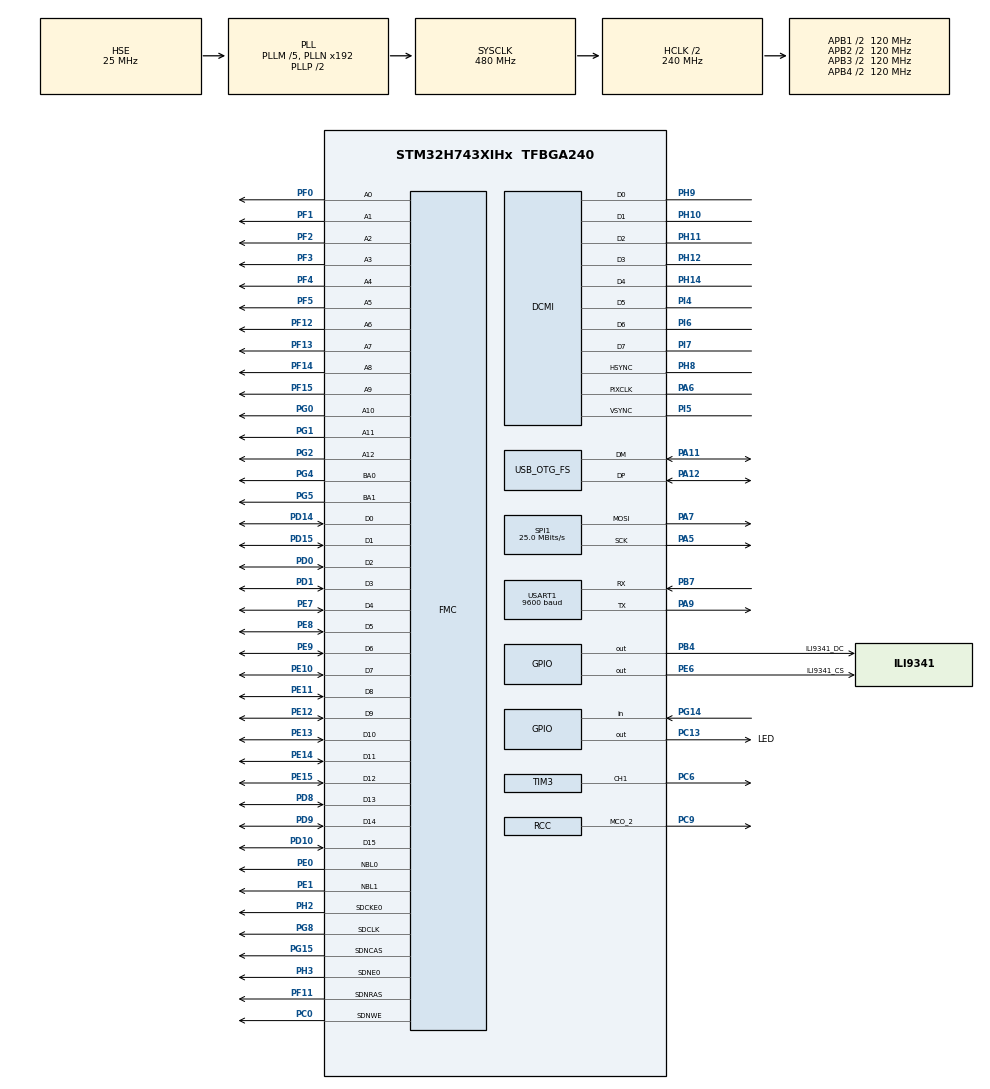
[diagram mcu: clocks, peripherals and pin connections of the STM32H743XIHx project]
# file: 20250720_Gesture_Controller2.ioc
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CORTEX_M7.AccessPermission_S-Cortex_Memory_Protection_Unit_Region4_Settings_S=MPU_REGION_FULL_ACCESS
CORTEX_M7.BaseAddress_S-Cortex_Memory_Protection_Unit_Region4_Settings_S=0xC0000000
CORTEX_M7.DisableExec_S-Cortex_Memory_Protection_Unit_Region4_Settings_S=MPU_INSTRUCTION_ACCESS_DISABLE
CORTEX_M7.Enable_S-Cortex_Memory_Protection_Unit_Region4_Settings_S=MPU_REGION_ENABLE
CORTEX_M7.IsShareable_S-Cortex_Memory_Protection_Unit_Region4_Settings_S=MPU_ACCESS_SHAREABLE
CORTEX_M7.Size_S-Cortex_Memory_Protection_Unit_Region4_Settings_S=MPU_REGION_SIZE_32MB
CORTEX_M7.SubRegionDisable_S-Cortex_Memory_Protection_Unit_Region4_Settings_S=0x0
CORTEX_M7.TypeExtField_S-Cortex_Memory_Protection_Unit_Region4_Settings_S=MPU_TEX_LEVEL1
CORTEX_M7.default_mode_Activation=1
DCMI.PCKPolarity=DCMI_PCKPOLARITY_RISING
DCMI.VSPolarity=DCMI_VSPOLARITY_HIGH
Dma.DCMI.1.Direction=DMA_PERIPH_TO_MEMORY
Dma.DCMI.1.EventEnable=DISABLE
Dma.DCMI.1.FIFOMode=DMA_FIFOMODE_DISABLE
Dma.DCMI.1.Instance=DMA1_Stream1
Dma.DCMI.1.MemDataAlignment=DMA_MDATAALIGN_WORD
Dma.DCMI.1.MemInc=DMA_MINC_ENABLE
Dma.DCMI.1.Mode=DMA_NORMAL
Dma.DCMI.1.PeriphDataAlignment=DMA_PDATAALIGN_WORD
Dma.DCMI.1.PeriphInc=DMA_PINC_DISABLE
Dma.DCMI.1.Polarity=HAL_DMAMUX_REQ_GEN_RISING
Dma.DCMI.1.Priority=DMA_PRIORITY_LOW
Dma.DCMI.1.RequestNumber=1
Dma.DCMI.1.SignalID=NONE
Dma.DCMI.1.SyncEnable=DISABLE
Dma.DCMI.1.SyncPolarity=HAL_DMAMUX_SYNC_NO_EVENT
Dma.DCMI.1.SyncRequestNumber=1
Dma.DCMI.1.SyncSignalID=NONE
Dma.Request0=SPI1_TX
Dma.Request1=DCMI
Dma.SPI1_TX.0.Direction=DMA_MEMORY_TO_PERIPH
Dma.SPI1_TX.0.EventEnable=DISABLE
Dma.SPI1_TX.0.FIFOMode=DMA_FIFOMODE_DISABLE
Dma.SPI1_TX.0.Instance=DMA1_Stream0
Dma.SPI1_TX.0.MemDataAlignment=DMA_MDATAALIGN_BYTE
Dma.SPI1_TX.0.MemInc=DMA_MINC_ENABLE
Dma.SPI1_TX.0.Mode=DMA_NORMAL
Dma.SPI1_TX.0.PeriphDataAlignment=DMA_PDATAALIGN_BYTE
Dma.SPI1_TX.0.PeriphInc=DMA_PINC_DISABLE
Dma.SPI1_TX.0.Polarity=HAL_DMAMUX_REQ_GEN_RISING
Dma.SPI1_TX.0.Priority=DMA_PRIORITY_LOW
Dma.SPI1_TX.0.RequestNumber=1
Dma.SPI1_TX.0.SignalID=NONE
Dma.SPI1_TX.0.SyncEnable=DISABLE
Dma.SPI1_TX.0.SyncPolarity=HAL_DMAMUX_SYNC_NO_EVENT
Dma.SPI1_TX.0.SyncRequestNumber=1
Dma.SPI1_TX.0.SyncSignalID=NONE
FMC.CASLatency1=FMC_SDRAM_CAS_LATENCY_2
FMC.ColumnBitsNumber1=FMC_SDRAM_COLUMN_BITS_NUM_9
FMC.ExitSelfRefreshDelay1=9
FMC.LoadToActiveDelay1=2
FMC.RCDDelay1=3
FMC.RPDelay1=3
FMC.ReadBurst1=FMC_SDRAM_RBURST_ENABLE
FMC.RowCycleDelay1=8
FMC.SDClockPeriod1=FMC_SDRAM_CLOCK_PERIOD_2
FMC.SelfRefreshTime1=6
FMC.WriteRecoveryTime1=3
FREERTOS.Tasks01=defaultTask,0,128,StartDefaultTask,Default,NULL,Dynamic,NULL,NULL;myListenerTask,0,128,ListenerTask,Default,NULL,Dynamic,NULL,NULL;myControllerTas,0,128,ControllerTask,Default,NULL,Dynamic,NULL,NULL;myPresenterTask,0,128,PresenterTask,Default,NULL,Dynamic,NULL,NULL
FREERTOS.configUSE_NEWLIB_REENTRANT=1
Mcu.Family=STM32H7
Mcu.Name=STM32H743XIHx
Mcu.Package=TFBGA240
NVIC.DCMI_IRQn=true\:5\:0\:false\:false\:true\:true\:true\:true\:true
NVIC.DMA1_Stream0_IRQn=true\:5\:0\:false\:false\:true\:true\:false\:true\:true
NVIC.DMA1_Stream1_IRQn=true\:5\:0\:false\:false\:true\:true\:false\:true\:true
NVIC.OTG_FS_IRQn=true\:5\:0\:true\:false\:true\:true\:false\:true\:true
NVIC.PriorityGroup=NVIC_PRIORITYGROUP_4
NVIC.SPI1_IRQn=true\:5\:0\:false\:false\:true\:true\:false\:true\:true
NVIC.TIM17_IRQn=true\:15\:0\:false\:false\:true\:false\:false\:true\:true
NVIC.TIM2_IRQn=true\:5\:0\:false\:false\:true\:true\:true\:true\:true
NVIC.TIM3_IRQn=true\:5\:0\:false\:false\:true\:true\:true\:true\:true
NVIC.TimeBase=TIM17_IRQn
NVIC.TimeBaseIP=TIM17
NVIC.USART1_IRQn=true\:5\:0\:true\:false\:true\:true\:true\:true\:true
PA11.Mode=Device_Only
PA11.Signal=USB_OTG_FS_DM
PA12.Mode=Device_Only
PA12.Signal=USB_OTG_FS_DP
PA13\ (JTMS/SWDIO).Mode=Serial_Wire
PA13\ (JTMS/SWDIO).Signal=DEBUG_JTMS-SWDIO
PA14\ (JTCK/SWCLK).Mode=Serial_Wire
PA14\ (JTCK/SWCLK).Signal=DEBUG_JTCK-SWCLK
PA5.Mode=TX_Only_Simplex_Unidirect_Master
PA5.Signal=SPI1_SCK
PA6.Mode=Slave_8_bits_External_Synchro
PA6.Signal=DCMI_PIXCLK
PA7.Mode=TX_Only_Simplex_Unidirect_Master
PA7.Signal=SPI1_MOSI
PA9.Mode=Asynchronous
PA9.Signal=USART1_TX
PB4\ (NJTRST).GPIO_Label=ILI9341_DC
PB4\ (NJTRST).Signal=GPIO_Output
PB7.Mode=Asynchronous
PB7.Signal=USART1_RX
PC0.Signal=FMC_SDNWE
PC13.GPIO_Label=LED
PC13.Signal=GPIO_Output
PC6.Signal=S_TIM3_CH1
PC9.Mode=Clock-out-2
PC9.Signal=RCC_MCO_2
PD0.Signal=FMC_D2_DA2
PD1.Signal=FMC_D3_DA3
PD10.Signal=FMC_D15_DA15
PD14.Signal=FMC_D0_DA0
PD15.Signal=FMC_D1_DA1
PD8.Signal=FMC_D13_DA13
PD9.Signal=FMC_D14_DA14
PE0.Signal=FMC_NBL0
PE1.Signal=FMC_NBL1
PE10.Signal=FMC_D7_DA7
PE11.Signal=FMC_D8_DA8
PE12.Signal=FMC_D9_DA9
PE13.Signal=FMC_D10_DA10
PE14.Signal=FMC_D11_DA11
PE15.Signal=FMC_D12_DA12
PE6.GPIO_Label=ILI9341_CS
PE6.Signal=GPIO_Output
PE7.Signal=FMC_D4_DA4
PE8.Signal=FMC_D5_DA5
PE9.Signal=FMC_D6_DA6
PF0.Signal=FMC_A0
PF1.Signal=FMC_A1
PF11.Signal=FMC_SDNRAS
PF12.Signal=FMC_A6
PF13.Signal=FMC_A7
PF14.Signal=FMC_A8
PF15.Signal=FMC_A9
PF2.Signal=FMC_A2
PF3.Signal=FMC_A3
PF4.Signal=FMC_A4
PF5.Signal=FMC_A5
PG0.Signal=FMC_A10
PG1.Signal=FMC_A11
PG14.Signal=GPIO_Input
PG15.Signal=FMC_SDNCAS
PG2.Signal=FMC_A12
PG4.Signal=FMC_A14_BA0
PG5.Signal=FMC_A15_BA1
PG8.Signal=FMC_SDCLK
PH0-OSC_IN\ (PH0).Mode=HSE-External-Oscillator
PH0-OSC_IN\ (PH0).Signal=RCC_OSC_IN
PH1-OSC_OUT\ (PH1).Mode=HSE-External-Oscillator
PH1-OSC_OUT\ (PH1).Signal=RCC_OSC_OUT
PH10.Mode=Slave_8_bits_External_Synchro
PH10.Signal=DCMI_D1
PH11.Mode=Slave_8_bits_External_Synchro
PH11.Signal=DCMI_D2
PH12.Mode=Slave_8_bits_External_Synchro
PH12.Signal=DCMI_D3
PH14.Mode=Slave_8_bits_External_Synchro
PH14.Signal=DCMI_D4
PH2.Mode=SdramChipSelect1_1
PH2.Signal=FMC_SDCKE0
PH3.Mode=SdramChipSelect1_1
PH3.Signal=FMC_SDNE0
PH8.Mode=Slave_8_bits_External_Synchro
PH8.Signal=DCMI_HSYNC
PH9.Mode=Slave_8_bits_External_Synchro
PH9.Signal=DCMI_D0
PI4.Mode=Slave_8_bits_External_Synchro
PI4.Signal=DCMI_D5
PI5.Mode=Slave_8_bits_External_Synchro
PI5.Signal=DCMI_VSYNC
PI6.Mode=Slave_8_bits_External_Synchro
PI6.Signal=DCMI_D6
PI7.Mode=Slave_8_bits_External_Synchro
PI7.Signal=DCMI_D7
ProjectManager.HeapSize=0x200
ProjectManager.StackSize=0x400
ProjectManager.TargetToolchain=STM32CubeIDE
RCC.ADCFreq_Value=96000000
RCC.APB1Freq_Value=120000000
RCC.APB2Freq_Value=120000000
RCC.APB3Freq_Value=120000000
RCC.APB4Freq_Value=120000000
RCC.CortexFreq_Value=480000000
RCC.D1PPRE=RCC_APB3_DIV2
RCC.D2PPRE1=RCC_APB1_DIV2
RCC.D2PPRE2=RCC_APB2_DIV2
RCC.D3PPRE=RCC_APB4_DIV2
RCC.DIVM1=5
RCC.DIVM2=25
RCC.DIVM3=25
RCC.DIVN1=192
RCC.DIVN2=192
RCC.DIVN3=200
RCC.HCLKFreq_Value=240000000
RCC.HPRE=RCC_HCLK_DIV2
RCC.HSE_VALUE=25000000
RCC.PLLFRACN=0
RCC.PLLSourceVirtual=RCC_PLLSOURCE_HSE
RCC.RCC_MCO2Source=RCC_MCO2SOURCE_PLL2PCLK
RCC.RCC_MCODiv2=RCC_MCODIV_4
RCC.SPI123CLockSelection=RCC_SPI123CLKSOURCE_PLL3
RCC.SYSCLKFreq_VALUE=480000000
RCC.SYSCLKSource=RCC_SYSCLKSOURCE_PLLCLK
RCC.USBCLockSelection=RCC_USBCLKSOURCE_HSI48
RCC.USBFreq_Value=48000000
SH.FMC_A0.0=FMC_A0,13b-sda1
SH.FMC_A1.0=FMC_A1,13b-sda1
SH.FMC_A10.0=FMC_A10,13b-sda1
SH.FMC_A11.0=FMC_A11,13b-sda1
SH.FMC_A12.0=FMC_A12,13b-sda1
SH.FMC_A14_BA0.0=FMC_BA0,FourSdramBanks1
SH.FMC_A15_BA1.0=FMC_BA1,FourSdramBanks1
SH.FMC_A2.0=FMC_A2,13b-sda1
SH.FMC_A3.0=FMC_A3,13b-sda1
SH.FMC_A4.0=FMC_A4,13b-sda1
SH.FMC_A5.0=FMC_A5,13b-sda1
SH.FMC_A6.0=FMC_A6,13b-sda1
SH.FMC_A7.0=FMC_A7,13b-sda1
SH.FMC_A8.0=FMC_A8,13b-sda1
SH.FMC_A9.0=FMC_A9,13b-sda1
SH.FMC_D0_DA0.0=FMC_D0,sd-16b-d1
SH.FMC_D10_DA10.0=FMC_D10,sd-16b-d1
SH.FMC_D11_DA11.0=FMC_D11,sd-16b-d1
SH.FMC_D12_DA12.0=FMC_D12,sd-16b-d1
SH.FMC_D13_DA13.0=FMC_D13,sd-16b-d1
SH.FMC_D14_DA14.0=FMC_D14,sd-16b-d1
SH.FMC_D15_DA15.0=FMC_D15,sd-16b-d1
SH.FMC_D1_DA1.0=FMC_D1,sd-16b-d1
SH.FMC_D2_DA2.0=FMC_D2,sd-16b-d1
SH.FMC_D3_DA3.0=FMC_D3,sd-16b-d1
SH.FMC_D4_DA4.0=FMC_D4,sd-16b-d1
SH.FMC_D5_DA5.0=FMC_D5,sd-16b-d1
SH.FMC_D6_DA6.0=FMC_D6,sd-16b-d1
SH.FMC_D7_DA7.0=FMC_D7,sd-16b-d1
SH.FMC_D8_DA8.0=FMC_D8,sd-16b-d1
SH.FMC_D9_DA9.0=FMC_D9,sd-16b-d1
SH.FMC_NBL0.0=FMC_NBL0,Sd2ByteEnable1
SH.FMC_NBL1.0=FMC_NBL1,Sd2ByteEnable1
SH.FMC_SDCLK.0=FMC_SDCLK,13b-sda1
SH.FMC_SDNCAS.0=FMC_SDNCAS,13b-sda1
SH.FMC_SDNRAS.0=FMC_SDNRAS,13b-sda1
SH.FMC_SDNWE.0=FMC_SDNWE,13b-sda1
SH.S_TIM3_CH1.0=TIM3_CH1,PWM Generation1 CH1
SPI1.BaudRatePrescaler=SPI_BAUDRATEPRESCALER_4
SPI1.CalculateBaudRate=25.0 MBits/s
SPI1.DataSize=SPI_DATASIZE_8BIT
SPI1.Direction=SPI_DIRECTION_2LINES_TXONLY
SPI1.Mode=SPI_MODE_MASTER
SPI1.NSSPMode=SPI_NSS_PULSE_DISABLE
SPI1.VirtualType=VM_MASTER
TIM2.AutoReloadPreload=TIM_AUTORELOAD_PRELOAD_ENABLE
TIM2.Period=10-1
TIM2.Prescaler=48-1
TIM3.AutoReloadPreload=TIM_AUTORELOAD_PRELOAD_ENABLE
TIM3.Channel-PWM\ Generation1\ CH1=TIM_CHANNEL_1
TIM3.Period=20000-1
TIM3.Prescaler=240-1
USART1.BaudRate=9600
USART1.VirtualMode-Asynchronous=VM_ASYNC
USB_DEVICE.CLASS_NAME_FS=HID
USB_DEVICE.VirtualMode-HID_FS=Hid
USB_DEVICE.VirtualModeFS=Hid_FS
USB_OTG_FS.VirtualMode=Device_Only
VP_FREERTOS_VS_CMSIS_V1.Mode=CMSIS_V1
VP_MEMORYMAP_VS_MEMORYMAP.Mode=CurAppReg
VP_SYS_VS_tim17.Mode=TIM17
VP_TIM2_VS_ClockSourceINT.Mode=Internal
VP_TIM3_VS_ClockSourceINT.Mode=Internal
VP_USB_DEVICE_VS_USB_DEVICE_HID_FS.Mode=HID_FS
board=custom

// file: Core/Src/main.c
/* USER CODE BEGIN Header */
/**
 ******************************************************************************
 * @file           : main.c
 * @brief          : Main program body
 ******************************************************************************
 * @attention
 *
 * Copyright (c) 2025 STMicroelectronics.
 * All rights reserved.
 *
 * This software is licensed under terms that can be found in the LICENSE file
 * in the root directory of this software component.
 * If no LICENSE file comes with this software, it is provided AS-IS.
 *
 ******************************************************************************
 */
/* USER CODE END Header */
#include "main.h"
#include "cmsis_os.h"
#include "dcmi.h"
#include "dma.h"
#include "memorymap.h"
#include "spi.h"
#include "tim.h"
#include "usart.h"
#include "usb_device.h"
#include "gpio.h"
#include "fmc.h"

/* USER CODE BEGIN Includes */
#include <stdio.h>
#include <string.h>
#include "Model_Mode.h"
#include "Model_KeyBoard.h"
#include "Presenter_KeyBoard.h"
#include "Presenter.h"
/* USER CODE END Includes */

/* USER CODE BEGIN PTD */
extern const unsigned char black_cat[];
/* USER CODE END PTD */

/* USER CODE BEGIN PV */
uint16_t *camBuf[320*240];   // static ram에 잡힘

uint8_t rx_data;
int captureFlag = 0;

volatile uint8_t flag=0;
volatile uint8_t send_ready = 0;
/* USER CODE END PV */

void SystemClock_Config(void);
void PeriphCommonClock_Config(void);
static void MPU_Config(void);
void MX_FREERTOS_Init(void);

/* USER CODE BEGIN 0 */
int __io_putchar(int ch)
{
	HAL_UART_Transmit(&huart1, (uint8_t *)&ch, 1, 1000);

	return ch;
}

void HAL_SPI_TxCpltCallback(SPI_HandleTypeDef *hspi)
{
	if(hspi->Instance == SPI1) {
		printf("SPI DMA Complete!\n");
	}
}

void HAL_DCMI_FrameEventCallback(DCMI_HandleTypeDef *hdcmi)
{
	captureFlag = 1;
	printf("Complete Oneshot Frame Capture!\n");
}
/* USER CODE END 0 */

int main(void)
{

  /* MPU Configuration--------------------------------------------------------*/
  MPU_Config();

  /* MCU Configuration--------------------------------------------------------*/

  /* Reset of all peripherals, Initializes the Flash interface and the Systick. */
  HAL_Init();

  /* Configure the system clock */
  SystemClock_Config();

  /* Configure the peripherals common clocks */
  PeriphCommonClock_Config();

  /* Initialize all configured peripherals */
  MX_GPIO_Init();
  MX_DMA_Init();
  MX_SPI1_Init();
  MX_FMC_Init();
  MX_DCMI_Init();
  MX_USART1_UART_Init();
  MX_TIM2_Init();
  MX_TIM3_Init();
  /* USER CODE BEGIN 2 */
	MX_USB_DEVICE_Init();

	HAL_DCMI_Start_DMA(&hdcmi, DCMI_MODE_SNAPSHOT, (uint32_t)&camBuf, 320*240/2);

	//   uint8_t *sdramAddr = (uint32_t *)(0xC0000000);
	//
	//   for (int i=0; i<100; i++) {
	//      sdramAddr[i] = i;
	//   }
	//
	//   for (int i=0; i<100; i++) {
	//      printf("sdramAddr[%d] = %d\n", i, sdramAddr[i]);
	//   }
	//
	//   printf("Hello STM32!\n");
	//   //HAL_SPI_Transmit_DMA(&hspi1, black_cat, 100);
	//
	//   for (uint32_t i=0; i<320*240*2; i++) {
	//      sdramAddr[i] = pic_240x320[i];
	//   }

  /* USER CODE END 2 */

  /* Call init function for freertos objects (in cmsis_os2.c) */
  MX_FREERTOS_Init();

  /* Start scheduler */
  osKernelStart();

  /* We should never get here as control is now taken by the scheduler */

  /* Infinite loop */
  /* USER CODE BEGIN WHILE */
	while (1)
	{

		//      ILI9341_FillScreen(ILI9341_RED);
		//      HAL_Delay(500);
		//      ILI9341_FillScreen(ILI9341_GREEN);
		//      HAL_Delay(500);
		//      ILI9341_FillScreen(ILI9341_BLUE);
		//      HAL_Delay(500);

		//      ILI9341_DrawImage(0, 0, 240, 240, (const uint16_t *)test_img_240x240);
		//      HAL_Delay(500);
		//      ILI9341_DrawImage8(0, 0, 240, 320, (const uint8_t *)pic_240x320);
		//      ILI9341_DrawImage8(0, 0, 240, 320, (const uint8_t *)sdramAddr);
		//      HAL_Delay(500);

		//      HAL_Delay(500);
		//            ILI9341_DrawImage8(20, 30, 64, 64,(const uint8_t *)black_cat);
		//      ILI9341_WriteString(10, 200, "Hello, World!", Font_7x10, ILI9341_WHITE, ILI9341_BLACK);
		//      HAL_Delay(3000);

    /* USER CODE END WHILE */

	}
}

void SystemClock_Config(void)
{
  RCC_OscInitTypeDef RCC_OscInitStruct = {0};
  RCC_ClkInitTypeDef RCC_ClkInitStruct = {0};

  /** Supply configuration update enable
  */
  HAL_PWREx_ConfigSupply(PWR_LDO_SUPPLY);

  /** Configure the main internal regulator output voltage
  */
  __HAL_PWR_VOLTAGESCALING_CONFIG(PWR_REGULATOR_VOLTAGE_SCALE0);

  while(!__HAL_PWR_GET_FLAG(PWR_FLAG_VOSRDY)) {}

  /** Initializes the RCC Oscillators according to the specified parameters
  * in the RCC_OscInitTypeDef structure.
  */
  RCC_OscInitStruct.OscillatorType = RCC_OSCILLATORTYPE_HSI48|RCC_OSCILLATORTYPE_HSE;
  RCC_OscInitStruct.HSEState = RCC_HSE_ON;
  RCC_OscInitStruct.HSI48State = RCC_HSI48_ON;
  RCC_OscInitStruct.PLL.PLLState = RCC_PLL_ON;
  RCC_OscInitStruct.PLL.PLLSource = RCC_PLLSOURCE_HSE;
  RCC_OscInitStruct.PLL.PLLM = 5;
  RCC_OscInitStruct.PLL.PLLN = 192;
  RCC_OscInitStruct.PLL.PLLP = 2;
  RCC_OscInitStruct.PLL.PLLQ = 2;
  RCC_OscInitStruct.PLL.PLLR = 2;
  RCC_OscInitStruct.PLL.PLLRGE = RCC_PLL1VCIRANGE_2;
  RCC_OscInitStruct.PLL.PLLVCOSEL = RCC_PLL1VCOWIDE;
  RCC_OscInitStruct.PLL.PLLFRACN = 0;
  if (HAL_RCC_OscConfig(&RCC_OscInitStruct) != HAL_OK)
  {
    Error_Handler();
  }

  /** Initializes the CPU, AHB and APB buses clocks
  */
  RCC_ClkInitStruct.ClockType = RCC_CLOCKTYPE_HCLK|RCC_CLOCKTYPE_SYSCLK
                              |RCC_CLOCKTYPE_PCLK1|RCC_CLOCKTYPE_PCLK2
                              |RCC_CLOCKTYPE_D3PCLK1|RCC_CLOCKTYPE_D1PCLK1;
  RCC_ClkInitStruct.SYSCLKSource = RCC_SYSCLKSOURCE_PLLCLK;
  RCC_ClkInitStruct.SYSCLKDivider = RCC_SYSCLK_DIV1;
  RCC_ClkInitStruct.AHBCLKDivider = RCC_HCLK_DIV2;
  RCC_ClkInitStruct.APB3CLKDivider = RCC_APB3_DIV2;
  RCC_ClkInitStruct.APB1CLKDivider = RCC_APB1_DIV2;
  RCC_ClkInitStruct.APB2CLKDivider = RCC_APB2_DIV2;
  RCC_ClkInitStruct.APB4CLKDivider = RCC_APB4_DIV2;

  if (HAL_RCC_ClockConfig(&RCC_ClkInitStruct, FLASH_LATENCY_4) != HAL_OK)
  {
    Error_Handler();
  }
  __HAL_RCC_PLL2CLKOUT_ENABLE(RCC_PLL2_DIVP);
  HAL_RCC_MCOConfig(RCC_MCO2, RCC_MCO2SOURCE_PLL2PCLK, RCC_MCODIV_4);
}

void PeriphCommonClock_Config(void)
{

  /** Enables PLL2P clock output
  */
  __HAL_RCC_PLL2_CONFIG(25, 192, 2, 2, 2);
  __HAL_RCC_PLL2_VCIRANGE(RCC_PLL2VCIRANGE_0);
  __HAL_RCC_PLL2_VCORANGE(RCC_PLL2VCOWIDE);
  __HAL_RCC_PLL2_ENABLE();
}

/* USER CODE BEGIN 4 */
void HAL_UART_RxCpltCallback(UART_HandleTypeDef *huart)
{

		if (huart->Instance == USART1 && (send_ready == 0)) {
			switch (rx_data) {

			// keyboard
			case 'a':
				osMessagePut(modeEventMsgBox, S_KEYBOARD_MODE, 0);
				osMessagePut(keyBoardEventMsgBox, EVENT_LEFT, 0);
				break;
			case 'b':
				osMessagePut(modeEventMsgBox, S_KEYBOARD_MODE, 0);
				osMessagePut(keyBoardEventMsgBox, EVENT_RIGHT, 0);
				break;
			case 'c':
				osMessagePut(modeEventMsgBox, S_KEYBOARD_MODE, 0);
				osMessagePut(keyBoardEventMsgBox, EVENT_UP, 0);
				break;
			case 'd':
				osMessagePut(modeEventMsgBox, S_KEYBOARD_MODE, 0);
				osMessagePut(keyBoardEventMsgBox, EVENT_DOWN, 0);
				break;
			case 'e':
				osMessagePut(modeEventMsgBox, S_KEYBOARD_MODE, 0);
				osMessagePut(keyBoardEventMsgBox, EVENT_ZERO, 0);
				break;
			case 'f':
				osMessagePut(modeEventMsgBox, S_KEYBOARD_MODE, 0);
				osMessagePut(keyBoardEventMsgBox, EVENT_ONE, 0);
				break;
			case 'g':
				osMessagePut(modeEventMsgBox, S_KEYBOARD_MODE, 0);
				osMessagePut(keyBoardEventMsgBox, EVENT_TWO, 0);
				break;
			case 'h':
				osMessagePut(modeEventMsgBox, S_KEYBOARD_MODE, 0);
				osMessagePut(keyBoardEventMsgBox, EVENT_THREE, 0);
				break;
			case 'i':
				osMessagePut(modeEventMsgBox, S_KEYBOARD_MODE, 0);
				osMessagePut(keyBoardEventMsgBox, EVENT_FOUR, 0);
				break;
			case 'j':
				osMessagePut(modeEventMsgBox, S_KEYBOARD_MODE, 0);
				osMessagePut(keyBoardEventMsgBox, EVENT_FIVE, 0);
				break;
			case 'k':
				osMessagePut(modeEventMsgBox, S_KEYBOARD_MODE, 0);
				osMessagePut(keyBoardEventMsgBox, EVENT_SIX, 0);
				break;
			case 'l':
				osMessagePut(modeEventMsgBox, S_KEYBOARD_MODE, 0);
				osMessagePut(keyBoardEventMsgBox, EVENT_SEVEN, 0);
				break;
			case 'm':
				osMessagePut(modeEventMsgBox, S_KEYBOARD_MODE, 0);
				osMessagePut(keyBoardEventMsgBox, EVENT_EIGHT, 0);
				break;
			case 'n':
				osMessagePut(modeEventMsgBox, S_KEYBOARD_MODE, 0);
				osMessagePut(keyBoardEventMsgBox, EVENT_NINE, 0);
				break;

			// motor
			case 'C':
				osMessagePut(modeEventMsgBox, S_MOTOR_MODE, 0);
				osMessagePut(servoMotorEventMsgBox, EVENT_SERVO_RIGHT, 0);
				break;
			case 'D':
				osMessagePut(modeEventMsgBox, S_MOTOR_MODE, 0);
				osMessagePut(servoMotorEventMsgBox, EVENT_SERVO_LEFT, 0);
				break;
			default:break;
			}
			HAL_UART_Receive_IT(&huart1, &rx_data, 1);
		}

}

/* USER CODE END 4 */

 /* MPU Configuration */

void MPU_Config(void)
{
  MPU_Region_InitTypeDef MPU_InitStruct = {0};

  /* Disables the MPU */
  HAL_MPU_Disable();

  /** Initializes and configures the Region and the memory to be protected
  */
  MPU_InitStruct.Enable = MPU_REGION_ENABLE;
  MPU_InitStruct.Number = MPU_REGION_NUMBER0;
  MPU_InitStruct.BaseAddress = 0x0;
  MPU_InitStruct.Size = MPU_REGION_SIZE_4GB;
  MPU_InitStruct.SubRegionDisable = 0x87;
  MPU_InitStruct.TypeExtField = MPU_TEX_LEVEL0;
  MPU_InitStruct.AccessPermission = MPU_REGION_NO_ACCESS;
  MPU_InitStruct.DisableExec = MPU_INSTRUCTION_ACCESS_DISABLE;
  MPU_InitStruct.IsShareable = MPU_ACCESS_SHAREABLE;
  MPU_InitStruct.IsCacheable = MPU_ACCESS_NOT_CACHEABLE;
  MPU_InitStruct.IsBufferable = MPU_ACCESS_NOT_BUFFERABLE;

  HAL_MPU_ConfigRegion(&MPU_InitStruct);

  /** Initializes and configures the Region and the memory to be protected
  */
  MPU_InitStruct.Number = MPU_REGION_NUMBER4;
  MPU_InitStruct.BaseAddress = 0xC0000000;
  MPU_InitStruct.Size = MPU_REGION_SIZE_32MB;
  MPU_InitStruct.SubRegionDisable = 0x0;
  MPU_InitStruct.TypeExtField = MPU_TEX_LEVEL1;
  MPU_InitStruct.AccessPermission = MPU_REGION_FULL_ACCESS;

  HAL_MPU_ConfigRegion(&MPU_InitStruct);
  /* Enables the MPU */
  HAL_MPU_Enable(MPU_PRIVILEGED_DEFAULT);

}

void HAL_TIM_PeriodElapsedCallback(TIM_HandleTypeDef *htim)
{
  /* USER CODE BEGIN Callback 0 */
	static uint16_t us_counter = 0;

	if (htim->Instance == TIM2 && flag == 1) {
		if (++us_counter >= 20000) {  // 1us * 20000 = 20ms
			us_counter = 0;
			flag = 0;
			send_ready=1;
			HAL_TIM_Base_Stop(&htim2);
		}
	}

  /* USER CODE END Callback 0 */
  if (htim->Instance == TIM17)
  {
    HAL_IncTick();
  }
}

void Error_Handler(void)
{
	__disable_irq();
	while (1)
	{
	}
}

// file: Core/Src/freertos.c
/* USER CODE BEGIN Header */
/**
 ******************************************************************************
 * File Name          : freertos.c
 * Description        : Code for freertos applications
 ******************************************************************************
 * @attention
 *
 * Copyright (c) 2025 STMicroelectronics.
 * All rights reserved.
 *
 * This software is licensed under terms that can be found in the LICENSE file
 * in the root directory of this software component.
 * If no LICENSE file comes with this software, it is provided AS-IS.
 *
 ******************************************************************************
 */
/* USER CODE END Header */

#include "FreeRTOS.h"
#include "task.h"
#include "main.h"
#include "cmsis_os.h"

/* USER CODE BEGIN Includes */
#include <stdio.h>
//#include "tim.h"
#include "Listener.h"
#include "Controller.h"
#include "Presenter.h"
#include "Model_Mode.h"
#include "Model_KeyBoard.h"
#include "Model_ServoMotor.h"
#include "servomotor.h"
/* USER CODE END Includes */

osThreadId defaultTaskHandle;
osThreadId myListenerTaskHandle;
osThreadId myControllerTasHandle;
osThreadId myPresenterTaskHandle;

void StartDefaultTask(void const * argument);
void ListenerTask(void const * argument);
void ControllerTask(void const * argument);
void PresenterTask(void const * argument);

extern void MX_USB_DEVICE_Init(void);
void MX_FREERTOS_Init(void); /* (MISRA C 2004 rule 8.1) */

/* GetIdleTaskMemory prototype (linked to static allocation support) */
void vApplicationGetIdleTaskMemory( StaticTask_t **ppxIdleTaskTCBBuffer, StackType_t **ppxIdleTaskStackBuffer, uint32_t *pulIdleTaskStackSize );

/* USER CODE BEGIN GET_IDLE_TASK_MEMORY */
static StaticTask_t xIdleTaskTCBBuffer;
static StackType_t xIdleStack[configMINIMAL_STACK_SIZE];

void vApplicationGetIdleTaskMemory( StaticTask_t **ppxIdleTaskTCBBuffer, StackType_t **ppxIdleTaskStackBuffer, uint32_t *pulIdleTaskStackSize )
{
	*ppxIdleTaskTCBBuffer = &xIdleTaskTCBBuffer;
	*ppxIdleTaskStackBuffer = &xIdleStack[0];
	*pulIdleTaskStackSize = configMINIMAL_STACK_SIZE;
	/* place for user code */
}
/* USER CODE END GET_IDLE_TASK_MEMORY */

void MX_FREERTOS_Init(void) {

  /* Create the thread(s) */
  /* definition and creation of defaultTask */
  osThreadDef(defaultTask, StartDefaultTask, osPriorityNormal, 0, 128);
  defaultTaskHandle = osThreadCreate(osThread(defaultTask), NULL);

  /* definition and creation of myListenerTask */
  osThreadDef(myListenerTask, ListenerTask, osPriorityNormal, 0, 128);
  myListenerTaskHandle = osThreadCreate(osThread(myListenerTask), NULL);

  /* definition and creation of myControllerTas */
  osThreadDef(myControllerTas, ControllerTask, osPriorityNormal, 0, 128);
  myControllerTasHandle = osThreadCreate(osThread(myControllerTas), NULL);

  /* definition and creation of myPresenterTask */
  osThreadDef(myPresenterTask, PresenterTask, osPriorityNormal, 0, 128);
  myPresenterTaskHandle = osThreadCreate(osThread(myPresenterTask), NULL);

  /* USER CODE BEGIN RTOS_THREADS */
	/* add threads, ... */
	Model_ModeInit();
	Model_KeyBoardInit();
	Model_ServoMotorInit();
  /* USER CODE END RTOS_THREADS */

}

void StartDefaultTask(void const * argument)
{
  /* init code for USB_DEVICE */
  MX_USB_DEVICE_Init();
	for(;;)
	{
		osDelay(1);
	}
}

void ListenerTask(void const * argument)
{
  /* USER CODE BEGIN ListenerTask */
	Listener_Init();
	/* Infinite loop */
	for(;;)
	{
		Listener_Execute();
		//		Presenter_SendKeyToPC(0x04);
		osDelay(1);
	}
  /* USER CODE END ListenerTask */
}

void ControllerTask(void const * argument)
{
  /* USER CODE BEGIN ControllerTask */
	Controller_Init();

	/* Infinite loop */
	for(;;)
	{
		Controller_Execute();
		osDelay(1);
		//		Controller_Execute();
	}
  /* USER CODE END ControllerTask */
}

void PresenterTask(void const * argument)
{
  /* USER CODE BEGIN PresenterTask */
	Presenter_Init();

	/* Infinite loop */
	for(;;)
	{
		//		Presenter_SendKeyToPC(0x04);
		Presenter_Execute();
		osDelay(1);
	}
  /* USER CODE END PresenterTask */
}
